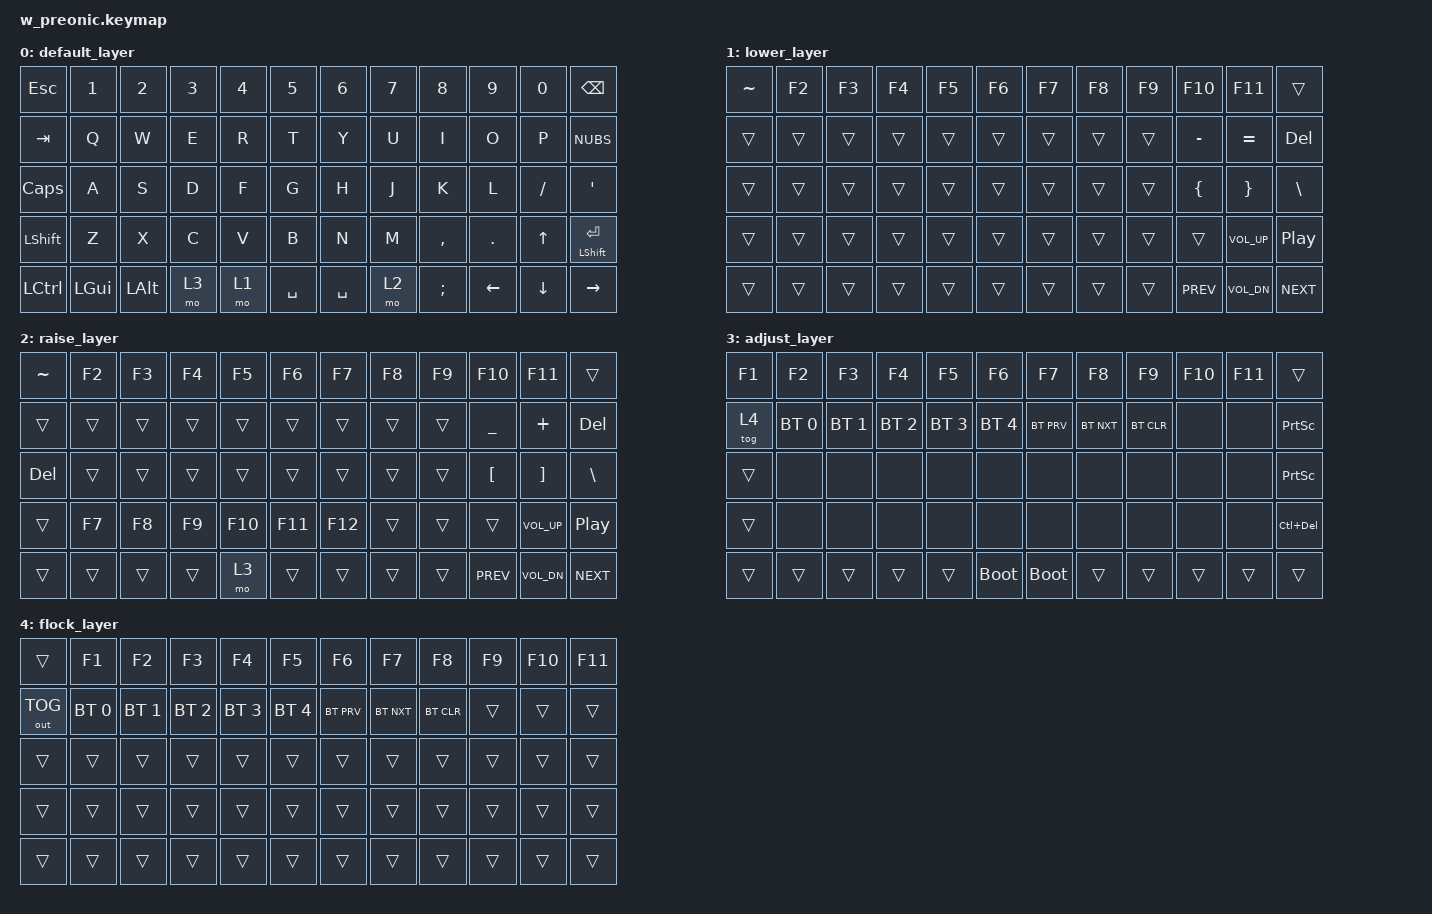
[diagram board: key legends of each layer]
/*
 * Copyright (c) 2021 The ZMK Contributors
 *
 * SPDX-License-Identifier: MIT
 */
 
#include <behaviors.dtsi>
#include <dt-bindings/zmk/keys.h>
#include <dt-bindings/zmk/bt.h>
#include <dt-bindings/zmk/outputs.h>


/ {
    keymap {
        compatible = "zmk,keymap";

        default_layer {
            // ------------------------------------------------------------------------------------------
            // |  ESC  |  1   |  2   |  3   |  4   |  5   |   6   |  7    |  8   |  9   |   0   | BSPC  |
            // |  TAB  |  Q   |  W   |  E   |  R   |  T   |   Y   |  U    |  I   |  O   |   P   |   \   |
            // | CAPS  |  A   |  S   |  D   |  F   |  G   |   H   |  J    |  K   |  L   |   /   |  '    |
            // | LSHFT |  Z   |  X   |  C   |  V   |  B   |   N   |  M    |  ,   |  .   |  UARW | RET   |
            // | LCTRL | LGUI | LALT |ADJUST| LOWR | SPACE| SPACE |  RAIS |  ;   | LARW | DARW  | RARW  |


            bindings = <
                &kp ESC    &kp N1       &kp N2      &kp N3   &kp N4     &kp N5      &kp N6      &kp N7  &kp N8      &kp N9      &kp N0      &kp BSPC
                &kp TAB    &kp Q        &kp W       &kp E    &kp R      &kp T       &kp Y       &kp U   &kp I       &kp O       &kp P       &kp NUBS
                &kp CAPS   &kp A        &kp S       &kp D    &kp F      &kp G       &kp H       &kp J   &kp K       &kp L       &kp FSLH    &kp SQT
                &kp LSHFT  &kp Z        &kp X       &kp C    &kp V      &kp B       &kp N       &kp M   &kp COMMA   &kp DOT     &kp UP      &mt LSHIFT RET
                &kp LCTRL  &kp LGUI     &kp LALT    &mo 3    &mo 1      &kp SPACE   &kp SPACE   &mo 2   &kp SEMI    &kp LEFT    &kp DOWN    &kp RIGHT 
            >;
        };

        lower_layer {
            // -------------------------------------------------------------------------------------------
            // |   ~   |  F2  |  F3  |  F4  |  F5  |  F6  |   F7  |  F8   |  F9  | F10  |  F11  |       |
            // |       |      |      |      |      |      |       |       |      |   _  |  +    |  DEL  |
            // |       |      |      |      |      |      |       |       |      |  {   |   }   |   |   |
            // |       |      |      |      |      |      |       |       |      |      |  Vol+ |  PLAY |
            // |       |      |      |      |      |      |       |       |      | PREV | Vol-  | NEXT  |
            bindings = <
                &kp TILDE  &kp F2   &kp F3   &kp F4   &kp F5    &kp F6     &kp F7       &kp F8      &kp F9       &kp F10        &kp F11          &trans
                &trans     &trans   &trans   &trans   &trans    &trans     &trans       &trans      &trans    &kp MINUS      &kp EQUAL        &kp DEL
                &trans     &trans   &trans   &trans   &trans    &trans     &trans       &trans      &trans       &kp LBRC       &kp RBRC         &kp BSLH
                &trans     &trans   &trans   &trans   &trans    &trans     &trans       &trans      &trans       &trans         &kp C_VOL_UP     &kp C_PLAY_PAUSE
                &trans     &trans   &trans   &trans   &trans    &trans     &trans       &trans      &trans      &kp C_PREV     &kp C_VOL_DN     &kp C_NEXT 
            >;
        };

        raise_layer {
            // ------------------------------------------------------------------------------------------
            // |  ~    |  F2  |  F3  |  F4  |  F5  |  F6  |  F7   |  F8   |  F9  | F10  |  F11  |       |
            // |       |      |      |      |      |      |       |       |      |   -  |  =    |  DEL  |
            // |  DEL  |      |      |      |      |      |       |       |      |  [   |   ]   |   \   |
            // |       |      |      |      |      |      |       |       |      |      |  Vol+ |  PLAY |
            // |       |      |      |      |      |      |       |       |      | PREV | Vol-  | NEXT  |
            bindings = <
                &kp TILDE &kp F2   &kp F3   &kp F4   &kp F5    &kp F6  &kp F7    &kp F8      &kp F9          &kp F10        &kp F11          &trans
                &trans    &trans   &trans   &trans   &trans    &trans  &trans    &trans      &trans          &kp UNDER      &kp PLUS         &kp DEL
                &kp DEL   &trans   &trans   &trans   &trans    &trans  &trans    &trans      &trans          &kp LBKT       &kp RBKT         &kp BSLH
                &trans    &kp F7   &kp F8   &kp F9   &kp F10   &kp F11 &kp F12   &trans      &trans          &trans         &kp C_VOL_UP     &kp C_PLAY_PAUSE
                &trans   &trans   &trans   &trans    &mo 3     &trans  &trans    &trans      &trans          &kp C_PREV     &kp C_VOL_DN     &kp C_NEXT
            >;
        };

        adjust_layer {
            // ------------------------------------------------------------------------------------------
            // |   F1 |  F2    |  F3    |  F4    |  F5    |  F6    |  F7  |  F8  |  F9  |  F10 |  F11 |           |
            // |tog(4)|BT_SEL 0|BT_SEL 1|BT_SEL 2|BT_SEL 3|BT_SEL 4|BT_PRV|BT_NXT|BT_CLR|  NA  |  NA  |   PSCRN   |
            // |      |  NA    |  NA    |  NA    |  NA    |  NA    |  NA  |  NA  |  NA  |  NA  |  NA  |   PRTSN   |
            // |      |  NA    |  NA    |  NA    |  NA    |  NA    |  NA  |  NA  |  NA  |  NA  |  NA  |LCTRL(DEL) |
            // |      |        |        |        |        | BOOTLD |BOOTLD|      |      |      |      |           |
            bindings = <
                &kp F1 &kp F2       &kp F3       &kp F4       &kp F5       &kp F6       &kp F7      &kp F8     &kp F9      &kp F10 &kp F11 &trans
                &tog 4 &bt BT_SEL 0 &bt BT_SEL 1 &bt BT_SEL 2 &bt BT_SEL 3 &bt BT_SEL 4 &bt BT_PRV  &bt BT_NXT &bt BT_CLR  &none   &none   &kp PSCRN
                &trans &none        &none        &none        &none        &none        &none       &none      &none       &none   &none   &kp PSCRN
                &trans &none        &none        &none        &none        &none        &none       &none      &none       &none   &none   &kp LC(DEL)
                &trans &trans       &trans       &trans       &trans       &bootloader  &bootloader &trans     &trans      &trans  &trans  &trans
            >;
        };

        flock_layer {
            // ----------------------------------------------------------------------------------------------
            // |       |  F1    |   F2   |   F3   |   F4   |   F5   |  F6  |  F7  |  F8  | F9  | F10 | F11  |
            // |out tog|BT_SEL 0|BT_SEL 1|BT_SEL 2|BT_SEL 3|BT_SEL 4|BT_PRV|BT_NXT|BT_CLR|     |     |      |
            // |       |        |        |        |        |        |      |      |      |     |     |      |
            // |       |        |        |        |        |        |      |      |      |     |     |      |
            // |       |        |        |        |        |        |      |      |      |     |     |      |
            bindings = <
                &trans       &kp F1       &kp F2       &kp F3       &kp F4       &kp F5       &kp F6     &kp F7     &kp F8     &kp F9  &kp F10 &kp F11
                &out OUT_TOG &bt BT_SEL 0 &bt BT_SEL 1 &bt BT_SEL 2 &bt BT_SEL 3 &bt BT_SEL 4 &bt BT_PRV &bt BT_NXT &bt BT_CLR &trans  &trans  &trans
                &trans       &trans       &trans       &trans       &trans       &trans       &trans     &trans     &trans     &trans  &trans  &trans
                &trans       &trans       &trans       &trans       &trans       &trans       &trans     &trans     &trans     &trans  &trans  &trans
                &trans       &trans       &trans       &trans       &trans       &trans       &trans     &trans     &trans     &trans  &trans  &trans
            >;
        };
    };
};
